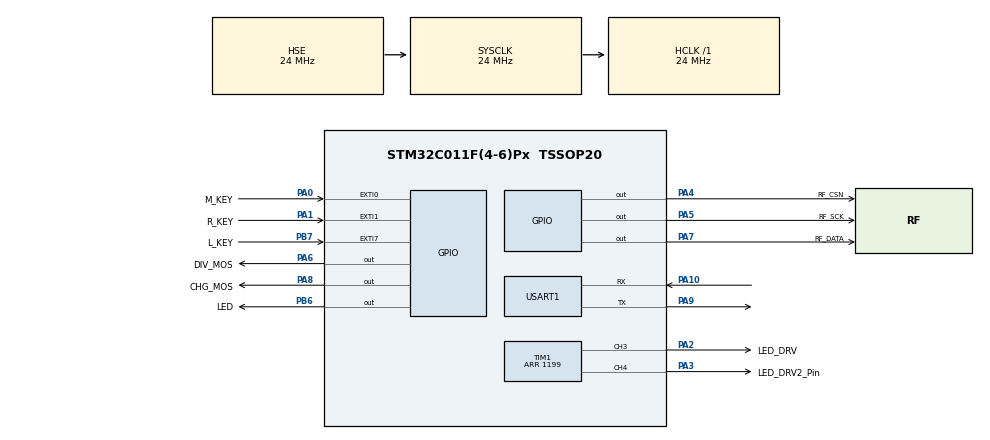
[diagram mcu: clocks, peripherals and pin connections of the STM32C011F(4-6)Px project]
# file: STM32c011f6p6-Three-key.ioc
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Mcu.Family=STM32C0
Mcu.Name=STM32C011F(4-6)Px
Mcu.Package=TSSOP20
NVIC.TIM14_IRQn=true\:0\:0\:false\:false\:true\:true\:true\:true
PA0.GPIO_Label=M_KEY
PA0.GPIO_ModeDefaultEXTI=GPIO_MODE_IT_RISING
PA0.GPIO_PuPd=GPIO_PULLDOWN
PA0.Signal=GPXTI0
PA1.GPIO_Label=R_KEY
PA1.GPIO_PuPd=GPIO_PULLDOWN
PA1.Signal=GPXTI1
PA10\ [PA12].Mode=Asynchronous
PA10\ [PA12].Signal=USART1_RX
PA13.Mode=Serial_Wire
PA13.Signal=DEBUG_SWDIO
PA14-BOOT0.Mode=Serial_Wire
PA14-BOOT0.Signal=DEBUG_SWCLK
PA2.GPIO_Label=LED_DRV
PA2.Signal=S_TIM1_CH3
PA3.GPIO_Label=LED_DRV2_Pin
PA3.Signal=S_TIM1_CH4
PA4.GPIO_Label=RF_CSN
PA4.Signal=GPIO_Output
PA5.GPIO_Label=RF_SCK
PA5.Signal=GPIO_Output
PA6.GPIO_Label=DIV_MOS
PA6.Signal=GPIO_Output
PA7.GPIO_Label=RF_DATA
PA7.Signal=GPIO_Output
PA8.GPIO_Label=CHG_MOS
PA8.Signal=GPIO_Output
PA9\ [PA11].Mode=Asynchronous
PA9\ [PA11].Signal=USART1_TX
PB6.GPIO_Label=LED
PB6.Signal=GPIO_Output
PB7.GPIO_Label=L_KEY
PB7.GPIO_PuPd=GPIO_PULLDOWN
PB7.Signal=GPXTI7
PC14-OSCX_IN\ (PC14).Mode=HSE-External-Oscillator-REMAPPED
PC14-OSCX_IN\ (PC14).Signal=RCC_OSCX_IN
PC15-OSCX_OUT\ (PC15).Mode=HSE-External-Oscillator-REMAPPED
PC15-OSCX_OUT\ (PC15).Signal=RCC_OSCX_OUT
ProjectManager.HeapSize=0x200
ProjectManager.StackSize=0x400
ProjectManager.TargetToolchain=MDK-ARM V5
RCC.ADCFreq_Value=24000000
RCC.AHBFreq_Value=24000000
RCC.CortexFreq_Value=24000000
RCC.EXTERNAL_CLOCK_VALUE=12288000
RCC.HCLKFreq_Value=24000000
RCC.HSE_VALUE=24000000
RCC.HSIKERCLKDivider=RCC_HSIKER_DIV2
RCC.HSISYSCLKDivider=RCC_HSI_DIV2
RCC.HSI_VALUE=48000000
RCC.LSE_VALUE=32768
RCC.SYSCLKFreq_VALUE=24000000
RCC.SYSCLKSource=RCC_SYSCLKSOURCE_HSE
SH.S_TIM1_CH3.0=TIM1_CH3,PWM Generation3 CH3
SH.S_TIM1_CH4.0=TIM1_CH4,PWM Generation4 CH4
TIM1.AutoReloadPreload=TIM_AUTORELOAD_PRELOAD_ENABLE
TIM1.Channel-PWM\ Generation3\ CH3=TIM_CHANNEL_3
TIM1.Channel-PWM\ Generation4\ CH4=TIM_CHANNEL_4
TIM1.OCFastMode_PWM-PWM\ Generation3\ CH3=TIM_OCFAST_ENABLE
TIM1.Period=1199
TIM1.Pulse-PWM\ Generation3\ CH3=115
TIM14.Channel=TIM_CHANNEL_1
TIM14.Period=999
TIM14.Prescaler=47
USART1.VirtualMode-Asynchronous=VM_ASYNC
VP_SYS_VS_PINREMAP.Mode=PINREMAP
VP_SYS_VS_PINREMAP_10_12.Mode=PINREMAP_10_12
VP_TIM14_VS_ClockSourceINT.Mode=Enable_Timer
VP_TIM14_VS_no_output1.Mode=Output Compare1 No Output
board=custom

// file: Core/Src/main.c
/* USER CODE BEGIN Header */
/**
  ******************************************************************************
  * @file           : main.c
  * @brief          : Main program body
  ******************************************************************************
  * @attention
  *
  * Copyright (c) 2026 STMicroelectronics.
  * All rights reserved.
  *
  * This software is licensed under terms that can be found in the LICENSE file
  * in the root directory of this software component.
  * If no LICENSE file comes with this software, it is provided AS-IS.
  *
  ******************************************************************************
  */
/* USER CODE END Header */
#include "main.h"

/* USER CODE BEGIN Includes */
#include "app_debug.h"
#include "app_key.h"
#include "app_led.h"
#include "app_power.h"
/* USER CODE END Includes */

TIM_HandleTypeDef htim1;
TIM_HandleTypeDef htim14;

UART_HandleTypeDef huart1;

void SystemClock_Config(void);
static void MX_GPIO_Init(void);
static void MX_TIM1_Init(void);
static void MX_TIM14_Init(void);

int main(void)
{

  /* MCU Configuration--------------------------------------------------------*/

  /* Reset of all peripherals, Initializes the Flash interface and the Systick. */
  HAL_Init();

  /* Configure the system clock */
  SystemClock_Config();

  /* Initialize all configured peripherals */
  MX_GPIO_Init();
  MX_TIM1_Init();
  MX_USART1_UART_Init();
  MX_TIM14_Init();
  /* USER CODE BEGIN 2 */
  AppKey_Init();
  AppPower_Init();
  DebugPrint("\r\n[FW] " FW_VERSION "\r\n");
  /* USER CODE END 2 */

  /* Infinite loop */
  while (1)
  {

    /* USER CODE BEGIN 3 */
    static uint32_t last_ms = 0;
    uint32_t now = HAL_GetTick();

    if (now != last_ms) {
      last_ms = now;
      AppKey_Tick1ms(now);
      AppLed_Tick1ms(now);
    }

    AppKeyEvent evt;
    int did_work = 0;
    while (AppKey_PopEvent(&evt)) {
      did_work = 1;
      AppPower_OnKeyEventForWakeLog(&evt);
      const char *k = AppKey_Name(evt.id);
      switch (evt.type) {
        case APP_KEY_EVT_SINGLE_CLICK:
          DebugPrint("[KEY] %s SINGLE t=%lums\r\n", k, evt.t_ms);
          break;
        case APP_KEY_EVT_DOUBLE_CLICK:
          DebugPrint("[KEY] %s DOUBLE t=%lums gap=%ums\r\n", k, evt.t_ms, evt.gap_ms);
          break;
        case APP_KEY_EVT_LONG_PRESS_1S:
          DebugPrint("[KEY] %s LONG1S t=%lums\r\n", k, evt.t_ms);
          break;
        default:
          DebugPrint("[KEY] %s ? t=%lums\r\n", k, evt.t_ms);
          break;
      }

      /* 只要事件有效就快闪一下 */
      AppLed_Flash(now);
    }

    /* 空闲时进入 STOP（按键 EXTI 唤醒） */
    AppPower_Poll(now, did_work ? 0 : 1);
  }
  /* USER CODE END 3 */
}

void SystemClock_Config(void)
{
  RCC_OscInitTypeDef RCC_OscInitStruct = {0};
  RCC_ClkInitTypeDef RCC_ClkInitStruct = {0};

  __HAL_FLASH_SET_LATENCY(FLASH_LATENCY_0);

  /** Initializes the RCC Oscillators according to the specified parameters
  * in the RCC_OscInitTypeDef structure.
  */
  RCC_OscInitStruct.OscillatorType = RCC_OSCILLATORTYPE_HSE;
  RCC_OscInitStruct.HSEState = RCC_HSE_ON;
  if (HAL_RCC_OscConfig(&RCC_OscInitStruct) != HAL_OK)
  {
    Error_Handler();
  }

  /** Initializes the CPU, AHB and APB buses clocks
  */
  RCC_ClkInitStruct.ClockType = RCC_CLOCKTYPE_HCLK|RCC_CLOCKTYPE_SYSCLK
                              |RCC_CLOCKTYPE_PCLK1;
  RCC_ClkInitStruct.SYSCLKSource = RCC_SYSCLKSOURCE_HSE;
  RCC_ClkInitStruct.SYSCLKDivider = RCC_SYSCLK_DIV1;
  RCC_ClkInitStruct.AHBCLKDivider = RCC_HCLK_DIV1;
  RCC_ClkInitStruct.APB1CLKDivider = RCC_APB1_DIV1;

  if (HAL_RCC_ClockConfig(&RCC_ClkInitStruct, FLASH_LATENCY_0) != HAL_OK)
  {
    Error_Handler();
  }
}

static void MX_TIM1_Init(void)
{

  TIM_MasterConfigTypeDef sMasterConfig = {0};
  TIM_OC_InitTypeDef sConfigOC = {0};
  TIM_BreakDeadTimeConfigTypeDef sBreakDeadTimeConfig = {0};

  htim1.Instance = TIM1;
  htim1.Init.Prescaler = 0;
  htim1.Init.CounterMode = TIM_COUNTERMODE_UP;
  htim1.Init.Period = 1199;
  htim1.Init.ClockDivision = TIM_CLOCKDIVISION_DIV1;
  htim1.Init.RepetitionCounter = 0;
  htim1.Init.AutoReloadPreload = TIM_AUTORELOAD_PRELOAD_ENABLE;
  if (HAL_TIM_PWM_Init(&htim1) != HAL_OK)
  {
    Error_Handler();
  }
  sMasterConfig.MasterOutputTrigger = TIM_TRGO_RESET;
  sMasterConfig.MasterOutputTrigger2 = TIM_TRGO2_RESET;
  sMasterConfig.MasterSlaveMode = TIM_MASTERSLAVEMODE_DISABLE;
  if (HAL_TIMEx_MasterConfigSynchronization(&htim1, &sMasterConfig) != HAL_OK)
  {
    Error_Handler();
  }
  sConfigOC.OCMode = TIM_OCMODE_PWM1;
  sConfigOC.Pulse = 115;
  sConfigOC.OCPolarity = TIM_OCPOLARITY_HIGH;
  sConfigOC.OCNPolarity = TIM_OCNPOLARITY_HIGH;
  sConfigOC.OCFastMode = TIM_OCFAST_ENABLE;
  sConfigOC.OCIdleState = TIM_OCIDLESTATE_RESET;
  sConfigOC.OCNIdleState = TIM_OCNIDLESTATE_RESET;
  if (HAL_TIM_PWM_ConfigChannel(&htim1, &sConfigOC, TIM_CHANNEL_3) != HAL_OK)
  {
    Error_Handler();
  }
  sConfigOC.Pulse = 0;
  sConfigOC.OCFastMode = TIM_OCFAST_DISABLE;
  if (HAL_TIM_PWM_ConfigChannel(&htim1, &sConfigOC, TIM_CHANNEL_4) != HAL_OK)
  {
    Error_Handler();
  }
  sBreakDeadTimeConfig.OffStateRunMode = TIM_OSSR_DISABLE;
  sBreakDeadTimeConfig.OffStateIDLEMode = TIM_OSSI_DISABLE;
  sBreakDeadTimeConfig.LockLevel = TIM_LOCKLEVEL_OFF;
  sBreakDeadTimeConfig.DeadTime = 0;
  sBreakDeadTimeConfig.BreakState = TIM_BREAK_DISABLE;
  sBreakDeadTimeConfig.BreakPolarity = TIM_BREAKPOLARITY_HIGH;
  sBreakDeadTimeConfig.BreakFilter = 0;
  sBreakDeadTimeConfig.BreakAFMode = TIM_BREAK_AFMODE_INPUT;
  sBreakDeadTimeConfig.Break2State = TIM_BREAK2_DISABLE;
  sBreakDeadTimeConfig.Break2Polarity = TIM_BREAK2POLARITY_HIGH;
  sBreakDeadTimeConfig.Break2Filter = 0;
  sBreakDeadTimeConfig.Break2AFMode = TIM_BREAK_AFMODE_INPUT;
  sBreakDeadTimeConfig.AutomaticOutput = TIM_AUTOMATICOUTPUT_DISABLE;
  if (HAL_TIMEx_ConfigBreakDeadTime(&htim1, &sBreakDeadTimeConfig) != HAL_OK)
  {
    Error_Handler();
  }
  HAL_TIM_MspPostInit(&htim1);

}

static void MX_TIM14_Init(void)
{

  TIM_OC_InitTypeDef sConfigOC = {0};

  htim14.Instance = TIM14;
  htim14.Init.Prescaler = 47;
  htim14.Init.CounterMode = TIM_COUNTERMODE_UP;
  htim14.Init.Period = 999;
  htim14.Init.ClockDivision = TIM_CLOCKDIVISION_DIV1;
  htim14.Init.AutoReloadPreload = TIM_AUTORELOAD_PRELOAD_DISABLE;
  if (HAL_TIM_Base_Init(&htim14) != HAL_OK)
  {
    Error_Handler();
  }
  if (HAL_TIM_OC_Init(&htim14) != HAL_OK)
  {
    Error_Handler();
  }
  sConfigOC.OCMode = TIM_OCMODE_TIMING;
  sConfigOC.Pulse = 0;
  sConfigOC.OCPolarity = TIM_OCPOLARITY_HIGH;
  sConfigOC.OCFastMode = TIM_OCFAST_DISABLE;
  if (HAL_TIM_OC_ConfigChannel(&htim14, &sConfigOC, TIM_CHANNEL_1) != HAL_OK)
  {
    Error_Handler();
  }

}

void MX_USART1_UART_Init(void)
{

  huart1.Instance = USART1;
  huart1.Init.BaudRate = 115200;
  huart1.Init.WordLength = UART_WORDLENGTH_8B;
  huart1.Init.StopBits = UART_STOPBITS_1;
  huart1.Init.Parity = UART_PARITY_NONE;
  huart1.Init.Mode = UART_MODE_TX_RX;
  huart1.Init.HwFlowCtl = UART_HWCONTROL_NONE;
  huart1.Init.OverSampling = UART_OVERSAMPLING_16;
  huart1.Init.OneBitSampling = UART_ONE_BIT_SAMPLE_DISABLE;
  huart1.Init.ClockPrescaler = UART_PRESCALER_DIV1;
  huart1.AdvancedInit.AdvFeatureInit = UART_ADVFEATURE_NO_INIT;
  if (HAL_UART_Init(&huart1) != HAL_OK)
  {
    Error_Handler();
  }
  if (HAL_UARTEx_SetTxFifoThreshold(&huart1, UART_TXFIFO_THRESHOLD_1_8) != HAL_OK)
  {
    Error_Handler();
  }
  if (HAL_UARTEx_SetRxFifoThreshold(&huart1, UART_RXFIFO_THRESHOLD_1_8) != HAL_OK)
  {
    Error_Handler();
  }
  if (HAL_UARTEx_DisableFifoMode(&huart1) != HAL_OK)
  {
    Error_Handler();
  }

}

static void MX_GPIO_Init(void)
{
  GPIO_InitTypeDef GPIO_InitStruct = {0};

  /* GPIO Ports Clock Enable */
  __HAL_RCC_GPIOB_CLK_ENABLE();
  __HAL_RCC_GPIOC_CLK_ENABLE();
  __HAL_RCC_GPIOA_CLK_ENABLE();

  /*Configure GPIO pin Output Level */
  HAL_GPIO_WritePin(GPIOA, RF_CSN_Pin|RF_SCK_Pin|DIV_MOS_Pin|RF_DATA_Pin
                          |CHG_MOS_Pin, GPIO_PIN_RESET);

  /*Configure GPIO pin Output Level */
  HAL_GPIO_WritePin(LED_GPIO_Port, LED_Pin, GPIO_PIN_RESET);

  /*Configure GPIO pin : L_KEY_Pin */
  GPIO_InitStruct.Pin = L_KEY_Pin;
  GPIO_InitStruct.Mode = GPIO_MODE_IT_RISING;
  GPIO_InitStruct.Pull = GPIO_PULLDOWN;
  HAL_GPIO_Init(L_KEY_GPIO_Port, &GPIO_InitStruct);

  /*Configure GPIO pins : M_KEY_Pin R_KEY_Pin */
  GPIO_InitStruct.Pin = M_KEY_Pin|R_KEY_Pin;
  GPIO_InitStruct.Mode = GPIO_MODE_IT_RISING;
  GPIO_InitStruct.Pull = GPIO_PULLDOWN;
  HAL_GPIO_Init(GPIOA, &GPIO_InitStruct);

  /* EXTI NVIC：STOP 唤醒需要使能对应中断 */
  HAL_NVIC_SetPriority(EXTI0_1_IRQn, 0, 0);
  HAL_NVIC_EnableIRQ(EXTI0_1_IRQn);
  HAL_NVIC_SetPriority(EXTI4_15_IRQn, 0, 0);
  HAL_NVIC_EnableIRQ(EXTI4_15_IRQn);

  /*Configure GPIO pins : RF_CSN_Pin RF_SCK_Pin DIV_MOS_Pin RF_DATA_Pin
                           CHG_MOS_Pin */
  GPIO_InitStruct.Pin = RF_CSN_Pin|RF_SCK_Pin|DIV_MOS_Pin|RF_DATA_Pin
                          |CHG_MOS_Pin;
  GPIO_InitStruct.Mode = GPIO_MODE_OUTPUT_PP;
  GPIO_InitStruct.Pull = GPIO_NOPULL;
  GPIO_InitStruct.Speed = GPIO_SPEED_FREQ_LOW;
  HAL_GPIO_Init(GPIOA, &GPIO_InitStruct);

  /*Configure GPIO pin : LED_Pin */
  GPIO_InitStruct.Pin = LED_Pin;
  GPIO_InitStruct.Mode = GPIO_MODE_OUTPUT_PP;
  GPIO_InitStruct.Pull = GPIO_NOPULL;
  GPIO_InitStruct.Speed = GPIO_SPEED_FREQ_LOW;
  HAL_GPIO_Init(LED_GPIO_Port, &GPIO_InitStruct);

}

/* USER CODE BEGIN 4 */
/* EXTI 使用 HAL_GPIO_EXTI_Rising_Callback（app_wakeup.c）；此处不再实现已废弃的 HAL_GPIO_EXTI_Callback。 */
/* USER CODE END 4 */

void Error_Handler(void)
{
  __disable_irq();
  while (1)
  {
  }
}
